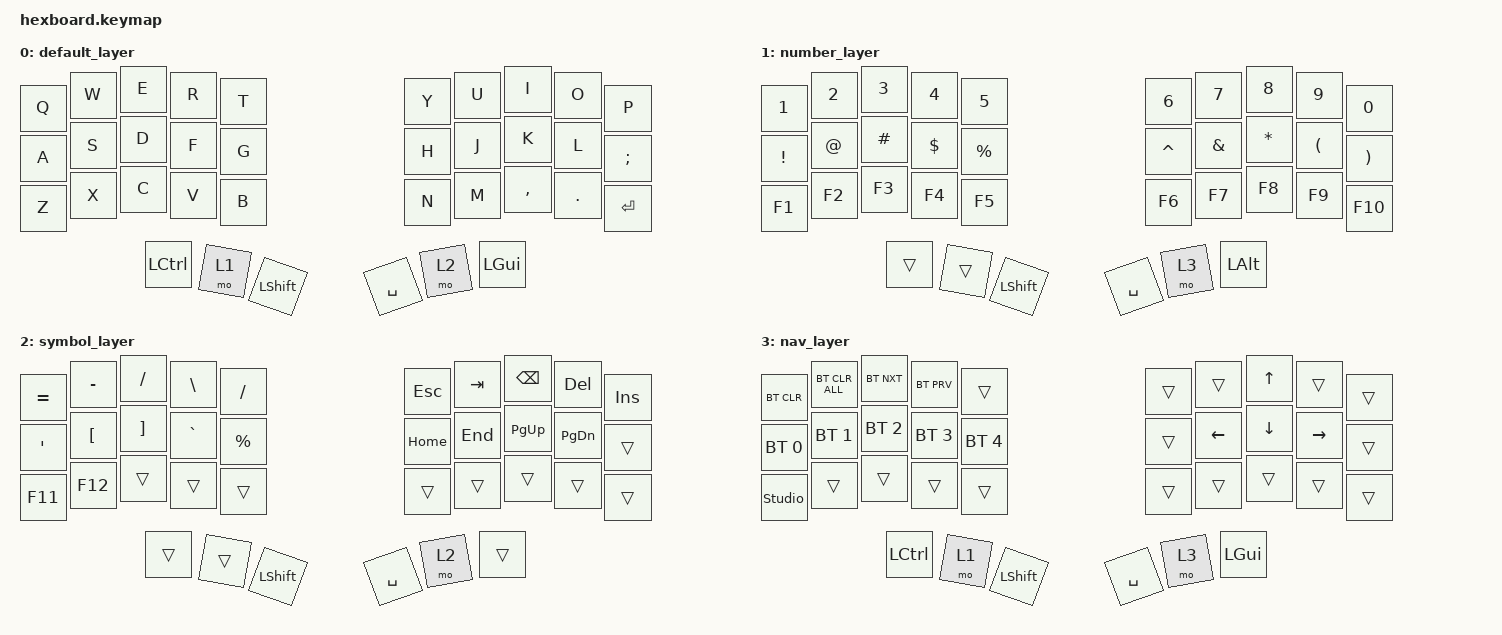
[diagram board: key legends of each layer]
#include <behaviors.dtsi>
#include <dt-bindings/zmk/keys.h>
#include <dt-bindings/zmk/bt.h>

/ {
    keymap {
        compatible = "zmk,keymap";

        default_layer { // Layer 0
            bindings = <
                &kp Q &kp W &kp E &kp R &kp T   &kp Y &kp U  &kp I     &kp O   &kp P    
                &kp A &kp S &kp D &kp F &kp G   &kp H &kp J  &kp K     &kp L   &kp SEMI 
                &kp Z &kp X &kp C &kp V &kp B   &kp N &kp M  &kp COMMA &kp DOT &kp ENTER 
                     &kp LCTRL &mo 1 &kp LSHFT   &kp SPACE &mo 2 &kp LGUI
            >;
        };

        number_layer { // Layer 1
            bindings = <
                &kp N1 &kp N2 &kp N3 &kp N4 &kp N5           &kp N6 &kp N7  &kp N8     &kp N9   &kp N0    
                &kp EXCL &kp AT &kp HASH &kp DLLR &kp PRCNT  &kp CARET &kp AMPS  &kp STAR     &kp LPAR   &kp RPAR 
                &kp F1 &kp F2 &kp F3 &kp F4 &kp F5           &kp F6 &kp F7  &kp F8     &kp F9   &kp F10   
                     &trans &trans &kp LSHFT                 &kp SPACE &mo 3 &kp LALT
            >;
        };

        symbol_layer { // Layer 2
            bindings = <
                &kp EQUAL &kp MINUS &kp FSLH &kp BSLH &kp FSLH    &kp ESC &kp TAB  &kp BSPC &kp DEL &kp INS    
                &kp SQT &kp LBKT &kp RBKT &kp GRAVE &kp PRCNT     &kp HOME &kp END &kp PG_UP &kp PG_DN &trans  
                &kp F11 &kp F12 &trans &trans &trans              &trans &trans &trans &trans &trans  
                     &trans &trans &kp LSHFT                       &kp SPACE &mo 2 &trans
            >;
        };

        nav_layer { // Layer 3
            bindings = <
                &bt BT_CLR &bt BT_CLR_ALL &bt BT_NXT &bt BT_PRV &trans           &trans &trans &kp UP &trans &trans    
                &bt BT_SEL 0 &bt BT_SEL 1 &bt BT_SEL 2 &bt BT_SEL 3 &bt BT_SEL 4 &trans &kp LEFT &kp DOWN &kp RIGHT &trans
                &studio_unlock &trans &trans &trans &trans                                    &trans &trans  &trans &trans &trans 
                     &kp LCTRL &mo 1 &kp LSHFT                                   &kp SPACE &mo 3 &kp LGUI
            >;
        };

        extra1 {
            status = "reserved";
        };

        extra2 {
            status = "reserved";
        };
        
    };
 };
